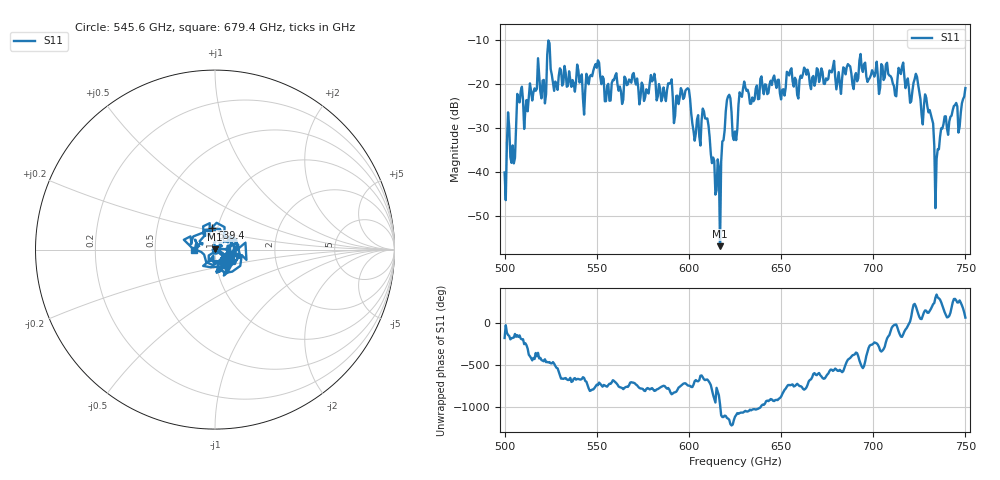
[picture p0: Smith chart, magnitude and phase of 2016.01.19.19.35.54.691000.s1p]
!Created with skrf (http://scikit-rf.org).
# GHz S RI R 50.0
!freq ReS11 ImS11
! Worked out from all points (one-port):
!   401 points, 500 GHz to 750 GHz, reference 50 ohm
!   lowest |S11| = -56.7 dB at 616.9 GHz (marker M1), VSWR 1.00, Z = 49.9 + j0.132 ohm
!   |S11| at or under -10 dB: start of sweep to end of sweep
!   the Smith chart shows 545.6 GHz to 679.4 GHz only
!   S11 on the Smith chart (normalised r, x): 545.6 GHz: 1.10, -0.18; 639.4 GHz: 0.94, +0.23; 679.4 GHz: 0.79, +0.00
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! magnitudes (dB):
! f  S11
! 500 GHz  -40.0
! 502.5 GHz  -29.8
! 504.4 GHz  -33.9
! 508.1 GHz  -24.2
! 521.2 GHz  -19.1
! 524.4 GHz  -10.8
! 527.5 GHz  -19.5
! 531.2 GHz  -20.4
! 545.6 GHz  -20.1
! 562.5 GHz  -20.6
! 593.8 GHz  -22.7
! 599.4 GHz  -21.0
! 603.1 GHz  -32.9
! 608.8 GHz  -27.8
! 615.6 GHz  -37.1
! 616.9 GHz  -56.7
! 621.2 GHz  -22.8
! 625 GHz  -30.8
! 628.8 GHz  -22.9
! 639.4 GHz  -18.3
! 656.2 GHz  -19.4
! 679.4 GHz  -18.5
! 687.5 GHz  -16.0
! 718.8 GHz  -18.8
! 729.4 GHz  -25.1
! 734.4 GHz  -37.0
! 738.1 GHz  -29.1
! 750 GHz  -21.0
